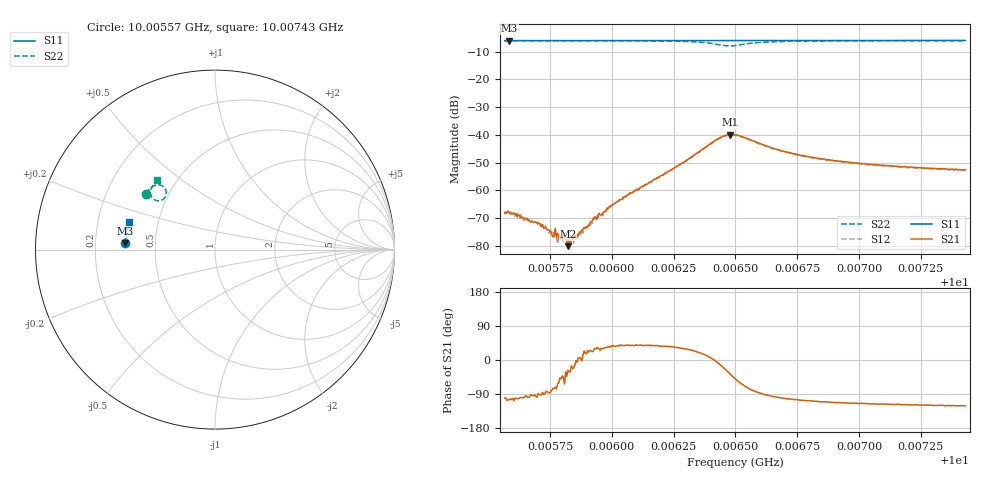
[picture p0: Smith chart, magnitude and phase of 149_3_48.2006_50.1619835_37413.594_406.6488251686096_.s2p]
#  HZ  S  RI  R  50.00
! Rohde & Schwarz Vector Network Analyzer
! Rohde-Schwarz,ZNB20-2Port,1311601062101988,3.16
! Created: UTC 3/20/2024, 11:42:45 AM
! freq[Hz]  re:S11  im:S11  re:S21  im:S21  re:S12  im:S12  re:S22  im:S22
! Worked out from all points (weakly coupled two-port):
!   401 points, 10.00557 GHz to 10.00743 GHz, reference 50 ohm
!   highest |S21| = -39.84 dB at 10.00648 GHz (marker M1); lowest = -80.1 dB at 10.00582 GHz (marker M2)
!   lowest |S11| = -6.0 dB at 10.00559 GHz (marker M3), VSWR 3.01, Z = 16.7 + j1.58 ohm
!   |S11| at or under -10 dB: nowhere
!   |S22| runs from -7.9 to -6.0 dB; largest |S21 - S12| = 0.00063
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1.0005567e10  -0.4996 0.0344  -7.2e-05 -0.000378  -7.78e-05 -0.000413  -0.3871 0.3114
1.0005585e10  -0.4995 0.0356  -9.74e-05 -0.000385  -4.25e-05 -0.000376  -0.3865 0.3125
1.0005702e10  -0.4991 0.0431  6.25e-06 -0.000266  -2.4e-05 -0.000238  -0.3808 0.3196
1.0005725e10  -0.499 0.0447  -3.11e-06 -0.000206  2.09e-05 -0.000217  -0.3798 0.321
1.0005758e10  -0.4991 0.0468  2.97e-05 -0.000157  3.75e-05 -0.000176  -0.3781 0.3231
1.0005776e10  -0.4988 0.0479  3.39e-05 -0.000137  8.1e-05 -0.000128  -0.3771 0.3243
1.0005785e10  -0.4988 0.0487  7.18e-05 -0.000127  7.68e-05 -0.00012  -0.3768 0.3247
1.0005804e10  -0.4988 0.05  8.65e-05 -8.83e-05  0.000125 -0.000114  -0.3757 0.326
1.0005823e10  -0.4986 0.051  8.81e-05 -4.48e-05  0.000102 -7.6e-05  -0.3746 0.3272
1.0005832e10  -0.4986 0.0516  9.33e-05 -5.6e-05  0.000113 -2.86e-05  -0.374 0.3277
1.0005837e10  -0.4986 0.0521  0.000124 -3.38e-05  0.000133 -8.72e-06  -0.3739 0.328
1.0005879e10  -0.4984 0.0546  0.000193 -8.22e-06  0.000199 3.19e-05  -0.3714 0.3308
1.0005939e10  -0.498 0.0586  0.000254 0.000164  0.000313 0.000163  -0.3677 0.3349
1.0006028e10  -0.4975 0.0643  0.00053 0.000394  0.000482 0.000418  -0.3614 0.341
1.0006191e10  -0.4963 0.075  0.0014 0.00105  0.00133 0.00109  -0.3448 0.3533
1.0006428e10  -0.4934 0.0901  0.00842 -0.00107  0.00826 -0.000591  -0.2731 0.3286
1.000648e10  -0.493 0.0928  0.00804 -0.00625  0.00818 -0.00564  -0.2859 0.2828
1.0006498e10  -0.4929 0.0938  0.00657 -0.00763  0.00685 -0.00714  -0.3019 0.2737
1.000668e10  -0.4917 0.1054  -0.000866 -0.00524  -0.000596 -0.00515  -0.3598 0.3218
1.0006811e10  -0.4901 0.1138  -0.00125 -0.00374  -0.00101 -0.00373  -0.3541 0.3427
1.0007123e10  -0.4858 0.1337  -0.00125 -0.00248  -0.00112 -0.00251  -0.3365 0.3685
1.000743e10  -0.4808 0.1528  -0.00122 -0.002  -0.00112 -0.00203  -0.3204 0.3859
